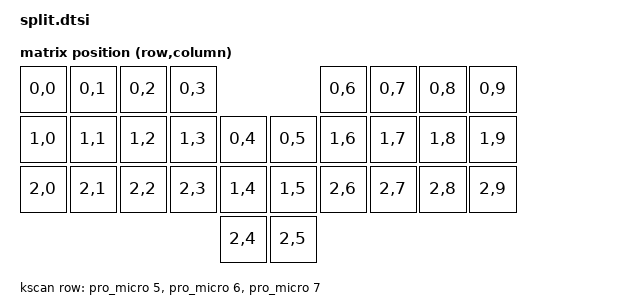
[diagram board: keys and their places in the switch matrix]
#include <dt-bindings/zmk/matrix_transform.h>

#include "split-layouts.dtsi"

/ {
    chosen {
        zmk,physical-layout = &default_layout;
    };

    kscan: kscan {
        compatible = "zmk,kscan-gpio-matrix";
        // Set this to "col2row" or "row2col" to match the hardware. If using
        // "row2col", change the col-gpios in the _left.overlay and _right.overlay
        // files to (GPIO_ACTIVE_HIGH | GPIO_PULL_DOWN) and the row-gpios here to
        // GPIO_ACTIVE_HIGH.
        diode-direction = "row2col";
        wakeup-source;

        row-gpios
            = <&pro_micro 5 (GPIO_ACTIVE_HIGH)>
            , <&pro_micro 6 (GPIO_ACTIVE_HIGH)>
            , <&pro_micro 7 (GPIO_ACTIVE_HIGH)>
            ;
    };

    default_transform: default_transform {
        compatible = "zmk,matrix-transform";
        columns = <10>;
        rows = <3>;
/*
*
*                       SW1    SW2    SW3    SW4                   SW19   SW18   SW17   SW16
*                       SW6    SW7    SW8    SW9    SW5     SW20   SW24   SW23   SW22   SW21
*                       SW11   SW12   SW13   SW14   SW10    SW25   SW29   SW28   SW27   SW26
*                                                   SW15    SW30
*
*
*/
        map = <
            RC(0, 0) RC(0, 1) RC(0, 2) RC(0, 3)                      RC(0, 6) RC(0, 7) RC(0, 8) RC(0, 9) 
            RC(1, 0) RC(1, 1) RC(1, 2) RC(1, 3) RC(0, 4)    RC(0, 5) RC(1, 6) RC(1, 7) RC(1, 8) RC(1, 9)  
            RC(2, 0) RC(2, 1) RC(2, 2) RC(2, 3) RC(1, 4)    RC(1, 5) RC(2, 6) RC(2, 7) RC(2, 8) RC(2, 9) 
                                                RC(2, 4)    RC(2, 5)
        >;
    };
};
